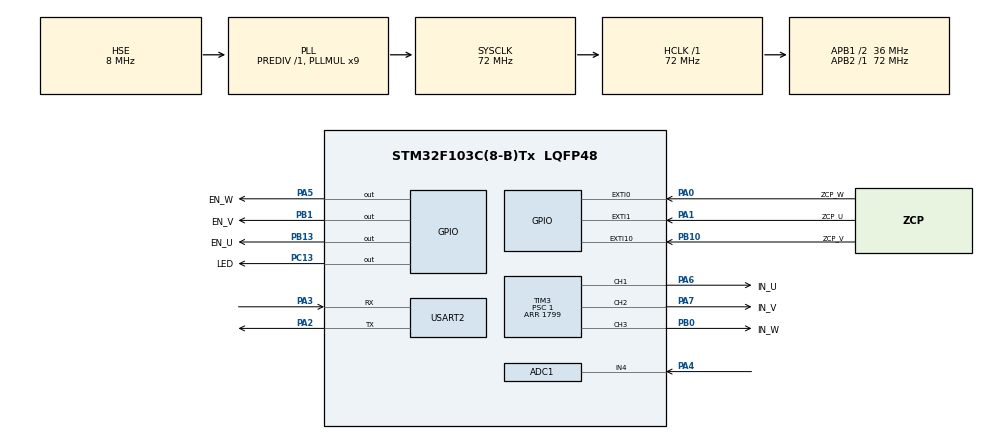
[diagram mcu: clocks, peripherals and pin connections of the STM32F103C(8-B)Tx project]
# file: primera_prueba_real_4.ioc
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ADC1.Channel-4\#ChannelRegularConversion=ADC_CHANNEL_4
ADC1.ContinuousConvMode=DISABLE
ADC1.ExternalTrigConv=ADC_EXTERNALTRIGCONV_T1_CC1
ADC1.NbrOfConversion=1
ADC1.NbrOfConversionFlag=1
ADC1.Rank-4\#ChannelRegularConversion=1
ADC1.SamplingTime-4\#ChannelRegularConversion=ADC_SAMPLETIME_1CYCLE_5
ADC1.master=1
Dma.Request0=USART2_TX
Dma.USART2_TX.0.Direction=DMA_MEMORY_TO_PERIPH
Dma.USART2_TX.0.Instance=DMA1_Channel7
Dma.USART2_TX.0.MemDataAlignment=DMA_MDATAALIGN_BYTE
Dma.USART2_TX.0.MemInc=DMA_MINC_ENABLE
Dma.USART2_TX.0.Mode=DMA_CIRCULAR
Dma.USART2_TX.0.PeriphDataAlignment=DMA_PDATAALIGN_BYTE
Dma.USART2_TX.0.PeriphInc=DMA_PINC_DISABLE
Dma.USART2_TX.0.Priority=DMA_PRIORITY_LOW
Mcu.Family=STM32F1
Mcu.Name=STM32F103C(8-B)Tx
Mcu.Package=LQFP48
NVIC.DMA1_Channel7_IRQn=true\:0\:0\:false\:false\:true\:false\:true\:true
NVIC.PriorityGroup=NVIC_PRIORITYGROUP_4
NVIC.TIM4_IRQn=true\:0\:0\:true\:false\:true\:true\:true\:true
NVIC.USART2_IRQn=true\:0\:0\:true\:false\:true\:true\:true\:true
PA0-WKUP.GPIO_Label=ZCP_W
PA0-WKUP.GPIO_ModeDefaultEXTI=GPIO_MODE_IT_RISING_FALLING
PA0-WKUP.GPIO_PuPd=GPIO_PULLUP
PA0-WKUP.Signal=GPXTI0
PA1.GPIO_Label=ZCP_U
PA1.GPIO_ModeDefaultEXTI=GPIO_MODE_IT_RISING_FALLING
PA1.GPIO_PuPd=GPIO_PULLUP
PA1.Signal=GPXTI1
PA13.Mode=Serial_Wire
PA13.Signal=SYS_JTMS-SWDIO
PA14.Mode=Serial_Wire
PA14.Signal=SYS_JTCK-SWCLK
PA2.Mode=Asynchronous
PA2.Signal=USART2_TX
PA3.Mode=Asynchronous
PA3.Signal=USART2_RX
PA4.Signal=ADCx_IN4
PA5.GPIO_Label=EN_W
PA5.GPIO_ModeDefaultOutputPP=GPIO_MODE_OUTPUT_PP
PA5.GPIO_PuPd=GPIO_NOPULL
PA5.GPIO_Speed=GPIO_SPEED_FREQ_LOW
PA5.Signal=GPIO_Output
PA6.GPIO_Label=IN_U
PA6.GPIO_Speed=GPIO_SPEED_FREQ_HIGH
PA6.Signal=S_TIM3_CH1
PA7.GPIO_Label=IN_V
PA7.GPIO_Speed=GPIO_SPEED_FREQ_HIGH
PA7.Signal=S_TIM3_CH2
PB0.GPIO_Label=IN_W
PB0.GPIO_Speed=GPIO_SPEED_FREQ_HIGH
PB0.Signal=S_TIM3_CH3
PB1.GPIO_Label=EN_V
PB1.GPIO_ModeDefaultOutputPP=GPIO_MODE_OUTPUT_PP
PB1.GPIO_PuPd=GPIO_NOPULL
PB1.GPIO_Speed=GPIO_SPEED_FREQ_LOW
PB1.Signal=GPIO_Output
PB10.GPIO_Label=ZCP_V
PB10.GPIO_ModeDefaultEXTI=GPIO_MODE_IT_RISING_FALLING
PB10.GPIO_PuPd=GPIO_PULLUP
PB10.Signal=GPXTI10
PB13.GPIO_Label=EN_U
PB13.GPIO_ModeDefaultOutputPP=GPIO_MODE_OUTPUT_PP
PB13.GPIO_PuPd=GPIO_NOPULL
PB13.GPIO_Speed=GPIO_SPEED_FREQ_LOW
PB13.Signal=GPIO_Output
PC13-TAMPER-RTC.GPIO_Label=LED
PC13-TAMPER-RTC.GPIO_ModeDefaultOutputPP=GPIO_MODE_OUTPUT_OD
PC13-TAMPER-RTC.GPIO_PuPd=GPIO_NOPULL
PC13-TAMPER-RTC.GPIO_Speed=GPIO_SPEED_FREQ_HIGH
PC13-TAMPER-RTC.PinState=GPIO_PIN_RESET
PC13-TAMPER-RTC.Signal=GPIO_Output
PD0-OSC_IN.Mode=HSE-External-Oscillator
PD0-OSC_IN.Signal=RCC_OSC_IN
PD1-OSC_OUT.Mode=HSE-External-Oscillator
PD1-OSC_OUT.Signal=RCC_OSC_OUT
ProjectManager.HeapSize=0x200
ProjectManager.StackSize=0x400
ProjectManager.TargetToolchain=STM32CubeIDE
RCC.ADCPresc=RCC_ADCPCLK2_DIV8
RCC.AHBFreq_Value=72000000
RCC.APB1CLKDivider=RCC_HCLK_DIV2
RCC.APB1Freq_Value=36000000
RCC.APB1TimFreq_Value=72000000
RCC.APB2Freq_Value=72000000
RCC.APB2TimFreq_Value=72000000
RCC.HCLKFreq_Value=72000000
RCC.PLLMUL=RCC_PLL_MUL9
RCC.PLLSourceVirtual=RCC_PLLSOURCE_HSE
RCC.SYSCLKFreq_VALUE=72000000
RCC.SYSCLKSource=RCC_SYSCLKSOURCE_PLLCLK
RCC.USBFreq_Value=72000000
SH.ADCx_IN4.0=ADC1_IN4,IN4
SH.S_TIM3_CH1.0=TIM3_CH1,PWM Generation1 CH1
SH.S_TIM3_CH2.0=TIM3_CH2,PWM Generation2 CH2
SH.S_TIM3_CH3.0=TIM3_CH3,PWM Generation3 CH3
TIM1.Channel-Output\ Compare1\ No\ Output=TIM_CHANNEL_1
TIM1.Channel-PWM\ Generation2\ CH2\ CH2N=TIM_CHANNEL_2
TIM1.Period=1799
TIM1.Prescaler=2
TIM1.Pulse-Output\ Compare1\ No\ Output=1770
TIM1.TIM_MasterOutputTrigger=TIM_TRGO_OC2REF
TIM1.TIM_MasterSlaveMode=TIM_MASTERSLAVEMODE_ENABLE
TIM3.AutoReloadPreload=TIM_AUTORELOAD_PRELOAD_ENABLE
TIM3.Channel-PWM\ Generation1\ CH1=TIM_CHANNEL_1
TIM3.Channel-PWM\ Generation2\ CH2=TIM_CHANNEL_2
TIM3.Channel-PWM\ Generation3\ CH3=TIM_CHANNEL_3
TIM3.OC1Preload_PWM=DISABLE
TIM3.OC2Preload_PWM=DISABLE
TIM3.OC3Preload_PWM=DISABLE
TIM3.OCFastMode_PWM-PWM\ Generation1\ CH1=TIM_OCFAST_DISABLE
TIM3.OCFastMode_PWM-PWM\ Generation2\ CH2=TIM_OCFAST_DISABLE
TIM3.Period=1799
TIM3.Prescaler=1
TIM3.TIM_MasterOutputTrigger=TIM_TRGO_UPDATE
TIM4.AutoReloadPreload=TIM_AUTORELOAD_PRELOAD_DISABLE
TIM4.Channel-Output\ Compare1\ No\ Output=TIM_CHANNEL_1
TIM4.Channel-Output\ Compare2\ No\ Output=TIM_CHANNEL_2
TIM4.ClockDivision=TIM_CLOCKDIVISION_DIV1
TIM4.OC1Preload=ENABLE
TIM4.OC2Preload=DISABLE
TIM4.Period=19999
TIM4.Prescaler=7199
USART2.VirtualMode=VM_ASYNC
VP_TIM1_VS_ClockSourceINT.Mode=Internal
VP_TIM1_VS_ClockSourceITR.Mode=TriggerSource_ITR0
VP_TIM1_VS_ControllerModeTrigger.Mode=Trigger Mode
VP_TIM1_VS_no_output1.Mode=Output Compare1 No Output
VP_TIM3_VS_ClockSourceINT.Mode=Internal
VP_TIM4_VS_ClockSourceINT.Mode=Internal
VP_TIM4_VS_no_output1.Mode=Output Compare1 No Output
VP_TIM4_VS_no_output2.Mode=Output Compare2 No Output
board=custom

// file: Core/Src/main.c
/* USER CODE BEGIN Header */
/**
  ******************************************************************************
  * @file           : main.c
  * @brief          : Main program body
  ******************************************************************************
  * @attention
  *
  * Copyright (c) 2025 STMicroelectronics.
  * All rights reserved.
  *
  * This software is licensed under terms that can be found in the LICENSE file
  * in the root directory of this software component.
  * If no LICENSE file comes with this software, it is provided AS-IS.
  *
  ******************************************************************************
  */
/* USER CODE END Header */
#include "main.h"

ADC_HandleTypeDef hadc1;

TIM_HandleTypeDef htim1;
TIM_HandleTypeDef htim3;
TIM_HandleTypeDef htim4;

UART_HandleTypeDef huart2;
DMA_HandleTypeDef hdma_usart2_tx;

/* USER CODE BEGIN PV */
const uint8_t float_phase_lookuptable[6] = {PHASE_W,PHASE_V,PHASE_U,PHASE_W,PHASE_V,PHASE_U}; //W ch1, U ch2, V ch3
 typedef enum {
	IDLE,
	PROCESS_COMMAND,
	STARTUP,
	RUNNING,
	ALIGNING,
	READY, // aligned
	FINISH

}state;

 void commutation(uint8_t step,uint16_t pwm);
 void commutator(void);
 void processCommand(char *input);
 void clearRxBuffer(void);

 void blink(void);
 state handleState(void);
 void ledON(void);
 void alignment(void);
 void startup(void);
 void pwm_stop(void);
 void pwm_init(void);
void enableZCP(uint8_t step);
 long map(long x, long in_min, long in_max, long out_min, long out_max) {
	return (x - in_min) * (out_max - out_min) / (in_max - in_min) + out_min;
}
 uint8_t rx_data[1];
 uint8_t rx_buffer[BUFFER_SIZE];
 uint8_t rx_index = 0;
 volatile state state_machine = IDLE;
 volatile bool eventFlag = false;

 volatile uint16_t pwmVal = 0;
 volatile uint8_t commutationStep = 0;
 volatile uint16_t commutationTime = 0;
volatile uint8_t zcp_u  = 0;
volatile uint16_t reference_comm = 0;
volatile uint16_t reference_zcp = 0;
volatile uint32_t adc_val = 0;
volatile uint16_t adc_val_2;
volatile uint16_t zcp_period=800;
volatile uint16_t zcp_period_next;
volatile uint16_t zcp_period_flt;
volatile uint16_t nextCommutTime;
volatile uint16_t halfCommutTime;
 bool aligned_flag = false;
 bool startup_flag = false;
 bool startup_ok = false;
 bool float_U = false;
 bool float_V = false;
 bool float_W = false;
 typedef struct {
     char *command;               // Texto del comando
     void (*execute)();
 } Command;

 Command commandTable[] = {
     {"ALIGN", alignment},
 	{"LEDON", ledON},
 	{"STARTUP", startup},
     {NULL, NULL}  // Marca el final de la tabla
 };
 typedef struct{
 	state currentState;
 	bool *eventFlag;
 	uint32_t delay;
 }TimerDependentEvent;

 TimerDependentEvent eventTable[]={
 		{ALIGNING, &aligned_flag, 1},
 		{RUNNING, &eventFlag, 1},
		{STARTUP, &startup_flag, STARTUP_TIME_X},
 		{IDLE, NULL, 0}
 };

#define COEF_ADVC_ANGLE 0.375
#define NUM_TIMER_EVENTS (sizeof(eventTable)/sizeof(eventTable[0]))
#define PWM_STOP 		HAL_TIM_PWM_Stop(&htim3, IN_U);\
						HAL_TIM_PWM_Stop(&htim3, IN_V);\
						HAL_TIM_PWM_Stop(&htim3, IN_W);
/* USER CODE END PV */

void SystemClock_Config(void);
static void MX_GPIO_Init(void);
static void MX_DMA_Init(void);
static void MX_TIM4_Init(void);
static void MX_USART2_UART_Init(void);
static void MX_TIM3_Init(void);
static void MX_ADC1_Init(void);
static void MX_TIM1_Init(void);

/* USER CODE BEGIN 0 */

void enableZCP(uint8_t step) {
    // Deshabilitar todas las interrupciones relevantes primero
    EXTI->IMR &= ~(1 << 0);  // Deshabilitar EXTI0
    EXTI->IMR &= ~(1 << 1);  // Deshabilitar EXTI1
    EXTI->IMR &= ~(1 << 10); // Deshabilitar EXTI15

    // Validar si el sistema está listo para habilitar la detección de cruces por cero
        // Obtener la fase actual desde la tabla de búsqueda
    if(startup_ok){
    switch (float_phase_lookuptable[step]) {
            case PHASE_V:

            	EXTI->IMR |= (1 << 10); // Habilitar interrupción para fase V (EXTI15)

                __enable_irq();
                break;
            case PHASE_W:

                EXTI->IMR |= (1 << 0);  // Habilitar interrupción para fase W (EXTI0)
                __enable_irq();

                break;
            case PHASE_U:

                EXTI->IMR |= (1 << 1);  // Habilitar interrupción para fase U (EXTI1)
                __enable_irq();

                break;
            default:
                // Manejar errores o fases no válidas
                break;
        }
    }
}

void pwm_stop(void) {
	__HAL_TIM_SET_COMPARE(&htim3, IN_U, 0);
	__HAL_TIM_SET_COMPARE(&htim3, IN_V, 0);
	__HAL_TIM_SET_COMPARE(&htim3, IN_W, 0);
	__HAL_TIM_SET_COUNTER(&htim3, 0);

}

void pwm_init(void){
	__HAL_TIM_SET_COMPARE(&htim3, IN_U, 0);
	__HAL_TIM_SET_COMPARE(&htim3, IN_V, 0);
	__HAL_TIM_SET_COMPARE(&htim3, IN_W, 0);

	HAL_TIM_PWM_Start(&htim3, IN_U);
	HAL_TIM_PWM_Start(&htim3,IN_V);
	HAL_TIM_PWM_Start(&htim3, IN_W);
	return;
}

void alignment(void){
	aligned_flag = false;
	state_machine = ALIGNING;
	HAL_TIM_Base_Stop_IT(&htim4);
	HAL_TIM_OC_Stop_IT(&htim4, TIM_CHANNEL_1);
	HAL_TIM_Base_Stop(&htim4);

	__HAL_TIM_SET_COUNTER(&htim4, 0);
	__HAL_TIM_SET_COMPARE(&htim4, TIM_CHANNEL_1, ALIGN_TIME);
	pwm_init();

	commutation(POS_UV, DC_ALIGN);
	HAL_TIM_Base_Start_IT(&htim4);
	HAL_TIM_OC_Start_IT(&htim4, TIM_CHANNEL_1);
	while(!aligned_flag);
	state_machine = READY;
	pwm_stop();
}

void startup(void){
	alignment();
	state_machine =  STARTUP;
	bool  localFlag = false;
	pwmVal = DC_STARTUP_INIT;
	pwm_init();
	commutationStep = POS_UV;
	commutationTime = TIME_STARTUP_COMMUTATION_INIT;
	uint16_t duration = 0;
	pwm_init();
	while(!localFlag){
		//__HAL_TIM_SET_COUNTER(&htim4, 0);
		//__HAL_TIM_SET_COMPARE(&htim4, TIM_CHANNEL_1, time);
		HAL_Delay(commutationTime);
		commutation(commutationStep, pwmVal);
		//HAL_TIM_Base_Start_IT(&htim4);
		//HAL_TIM_OC_Start_IT(&htim4, TIM_CHANNEL_1);
		//while(!startup_flag);

		commutationStep = (commutationStep + 1) % NUM_POS;
		(pwmVal < DC_STARTUP_END) ? pwmVal += DC_STARTUP_STEP : pwmVal;
	    if (commutationTime > TIME_STARTUP_COMMUTATION_FINAL) {
	    	commutationTime -= TIME_STARTUP_STEP;
	    } else if (duration < 500){
	        duration++;
	        if(duration == 499)startup_ok=true;
	    }
	    else {

			localFlag = true;

			__HAL_TIM_SET_COUNTER(&htim4, 0);

	    }
//		startup_flag = false;

	}
	//commutationTime*=10;
	HAL_TIM_OC_Stop_IT(&htim4, TIM_CHANNEL_1); // Detiene canal 1
//	__HAL_TIM_SET_COMPARE(&htim4, TIM_CHANNEL_2, commutationTime); // Configura canal 2
	reference_zcp = 0;

	TIM4->ARR = 0xFFFF;
	TIM4->PSC = 4;
	//HAL_ADC_Start_IT(&hadc1);
	// Habilitar interrupción para fase W (EXTI0)

	__HAL_TIM_SET_COUNTER(&htim4, 0);

	// Inicia el canal 2 en modo Output Compare

}

void ledON(){

	eventFlag = true;

	__HAL_TIM_SET_COMPARE(&htim4, TIM_CHANNEL_1, 19999);

	HAL_TIM_OC_Start_IT(&htim4, TIM_CHANNEL_1);

}
void processCommand(char *input) {
    for (int i = 0; commandTable[i].command != NULL; i++) {
        if (strcmp(input, commandTable[i].command) == 0) {  // Compara el comando recibido
            eventFlag = true;
        	commandTable[i].execute();  // Ejecuta la función asociada
            clearRxBuffer();  // Limpia el buffer acumulador

            return;
        }
    }
    // Si no se encuentra el comando
    HAL_UART_Transmit(&huart2, (uint8_t *)"Unknown Command\r\n", 17, 3);
    clearRxBuffer();
    state_machine = IDLE;
    return;// Limpia el buffer acumulador

}

void clearRxBuffer(void) {
    memset(rx_buffer, 0, BUFFER_SIZE);  // Establece todos los elementos a 0
    rx_index = 0;                          // Reinicia el índice del buffer
}

void HAL_UART_RxCpltCallback(UART_HandleTypeDef *huart) {
    if (huart->Instance == USART2) {  // Verifica el UART correcto
        if (rx_data[0] == '\r') {  // Detecta el carácter de fin de línea
            rx_buffer[rx_index] = '\0';  // Finaliza la cadena con terminador nulo
            rx_index = 0;  // Reinicia el índice para el próximo mensaje

            // Procesa el mensaje completo
            HAL_UART_Transmit(&huart2, (uint8_t *)"\r\nReceived: ", 12, 3);
            HAL_UART_Transmit(&huart2, rx_buffer	, strlen((char *)rx_buffer), 3);
            HAL_UART_Transmit(&huart2, (uint8_t *)"\r\n", 2, HAL_MAX_DELAY);
            state_machine = PROCESS_COMMAND;
        } else if (rx_data[0] == '\b' || rx_data[0] == '\177') {  // Detecta Backspace
            if (rx_index > 0) {  // Si hay algo en el buffer
                rx_index--;  // Retrocede el índice
                // Simula el borrado en el terminal
                HAL_UART_Transmit(&huart2, (uint8_t *)"\b \b", 3, 3);
            }
        } else {  // Cualquier otro carácter
            rx_buffer[rx_index++] = rx_data[0];  // Almacena el carácter en el buffer
            HAL_UART_Transmit(&huart2, rx_data, 1, HAL_MAX_DELAY);  // Eco del carácter recibido

            // Evita desbordamientos
            if (rx_index >= BUFFER_SIZE) {
                HAL_UART_Transmit(&huart2, (uint8_t *)"\r\nBuffer Overflow\r\n", 19, 3);
                rx_index = 0;  // Reinicia el índice en caso de desbordamiento
            }
        }

        // Reinicia la recepción para el siguiente byte
        HAL_UART_Receive_IT(&huart2, rx_data, 1);
    }
}
state handleState(void){
	switch(state_machine){
	case IDLE:
		if(!__HAL_UART_GET_IT_SOURCE(&huart2, UART_IT_RXNE)){
			__HAL_UART_ENABLE_IT(&huart2, UART_IT_RXNE);
		}
		break;

	case PROCESS_COMMAND:
		__HAL_UART_DISABLE_IT(&huart2, UART_IT_RXNE);
		processCommand((char*) rx_buffer);
		break;

	case STARTUP:
		__HAL_UART_DISABLE_IT(&huart2, UART_IT_RXNE);
		//startup();
		break;
	case ALIGNING:
		__HAL_UART_DISABLE_IT(&huart2, UART_IT_RXNE);
		alignment();
		break;
	case RUNNING:
		__HAL_UART_DISABLE_IT(&huart2, UART_IT_RXNE);
		break;

	case READY:
		if(!__HAL_UART_GET_IT_SOURCE(&huart2, UART_IT_RXNE)){
					__HAL_UART_ENABLE_IT(&huart2, UART_IT_RXNE);
				}
		break;
	case FINISH:
		// Asegúrate de que las interrupciones de UART estén habilitadas al finalizar
		//timerCounter = 0; // Reinicia el contador
		__HAL_UART_ENABLE_IT(&huart2, UART_IT_RXNE);
		state_machine = IDLE; // Vuelve al estado IDLE

		break;

}
	return (state_machine);
}
/*
 __disable_irq();
//HAL_GPIO_TogglePin(LED_GPIO_Port, LED_Pin);
realCommutTime = HAL_TIM_ReadCapturedValue(&htim2, TIM_CHANNEL_1);
TIM4->CCR2 = realCommutTime;
__enable_irq();
*/

void HAL_GPIO_EXTI_Callback(uint16_t GPIO_Pin) {

	commutationStep = (commutationStep + 1) % NUM_POS;

	commutation(commutationStep, pwmVal);
		reference_comm++;

}
void HAL_GPIO_EXT0_Callback(uint16_t GPIO_Pin){

	commutationStep = (commutationStep + 1) % NUM_POS;

	commutation(commutationStep, pwmVal);

}

void HAL_GPIO_EXT15_10_Callback(uint16_t GPIO_Pin){

	commutationStep = (commutationStep + 1) % NUM_POS;

	commutation(commutationStep, pwmVal);

}
void commutation(uint8_t step, uint16_t pwm) {

    switch(step) {

        case POS_UV:
        	pwm_stop();
        	__disable_irq();
            GPIOA->ODR &= ~EN_W;         // Desactivar EN_W

            GPIOB->ODR |= EN_U;
			GPIOB->ODR |= EN_V;  // Activar EN_U y EN_V

            __HAL_TIM_SET_COMPARE(&htim3, IN_U, pwm);
            __HAL_TIM_SET_COMPARE(&htim3, IN_V, 0);
        	__HAL_TIM_SET_COUNTER(&htim3, 0);
        	__enable_irq();

            enableZCP(step);

            break;
        case POS_UW:
        	pwm_stop();
        	__disable_irq();

            GPIOB->ODR &= ~EN_V;         // Desactivar EN_V

           // GPIOB->ODR |= EN_U ; // Activar EN_U y EN_W
            GPIOA->ODR |=  EN_W;
            __HAL_TIM_SET_COMPARE(&htim3, IN_U, pwm);
            __HAL_TIM_SET_COMPARE(&htim3, IN_W, 0);

        	__HAL_TIM_SET_COUNTER(&htim3, 0);
__enable_irq();
                        enableZCP(step);

            break;
        case POS_VW:
        	pwm_stop();
        	__disable_irq();

            GPIOB->ODR &= ~EN_U;         // Desactivar EN_U

            GPIOB->ODR |= EN_V; // Activar EN_V y EN_W
            //GPIOA->ODR |=  EN_W;

            __HAL_TIM_SET_COMPARE(&htim3, IN_V, pwm);
            __HAL_TIM_SET_COMPARE(&htim3, IN_W, 0);
        	__HAL_TIM_SET_COUNTER(&htim3, 0);
        	__enable_irq();

            enableZCP(step);

            break;
        case POS_VU:
        	pwm_stop();
        	__disable_irq();

            GPIOB->ODR |= EN_U; // Activar EN_U y EN_V
            GPIOB->ODR |=  EN_V;
            GPIOA->ODR &= ~EN_W;         // Desactivar EN_W
            __HAL_TIM_SET_COMPARE(&htim3, IN_V, pwm);
            __HAL_TIM_SET_COMPARE(&htim3, IN_U, 0);
        	__HAL_TIM_SET_COUNTER(&htim3, 0);
        	__enable_irq();

        	enableZCP(step);

            break;
        case POS_WU:
        	pwm_stop();
        	__disable_irq();

            GPIOB->ODR &= ~EN_V;         // Desactivar EN_V
            GPIOA->ODR |=  EN_W;
            //GPIOB->ODR |= EN_U; // Activar EN_U y EN_W

            __HAL_TIM_SET_COMPARE(&htim3, IN_W, pwm);
            __HAL_TIM_SET_COMPARE(&htim3, IN_U, 0);
        	__HAL_TIM_SET_COUNTER(&htim3, 0);
        	__enable_irq();

            enableZCP(step);

            break;
        case POS_WV:
        	pwm_stop();
        	__disable_irq();

            GPIOB->ODR &= ~EN_U;         // Desactivar EN_U

            GPIOB->ODR |= EN_V; // Activar EN_V y EN_W
            //GPIOA->ODR |=  EN_W;
            __HAL_TIM_SET_COMPARE(&htim3, IN_W, pwm);
            __HAL_TIM_SET_COMPARE(&htim3, IN_V, 0);
        	__HAL_TIM_SET_COUNTER(&htim3, 0);
        	__enable_irq();

        	enableZCP(step);

            break;
        default:
            break;
    }
}

void HAL_TIM_OC_DelayElapsedCallback(TIM_HandleTypeDef *htim) {
	if (htim->Instance == TIM4 && htim->Channel == HAL_TIM_ACTIVE_CHANNEL_1) {
	    //TIM3->CCER &= ~(TIM_CCER_CC1E | TIM_CCER_CC2E | TIM_CCER_CC3E | TIM_CCER_CC4E);
		__HAL_TIM_DISABLE(&htim4);

		__HAL_TIM_SET_COUNTER(&htim4, 0);
		HAL_TIM_Base_Stop_IT(&htim4);
		HAL_TIM_Base_Stop(&htim4);

		HAL_TIM_OC_Stop_IT(&htim4, TIM_CHANNEL_1);
		for (int i = 0; i < NUM_TIMER_EVENTS; i++) {
			// Detener el temporizador y deshabilitar el contador
			if (eventTable[i].currentState == state_machine) {
				if (eventTable[i].eventFlag != NULL) {
					*(eventTable[i].eventFlag) = true;
					__HAL_TIM_ENABLE(&htim4);
					__HAL_TIM_SET_COUNTER(&htim4, 0);

					HAL_TIM_OC_Stop_IT(&htim4, TIM_CHANNEL_1);

					return;

				}
				break;

			}

		}
		__HAL_TIM_SET_COUNTER(&htim4, 0);
		HAL_TIM_Base_Start_IT(&htim4);
		HAL_TIM_OC_Start_IT(&htim4, TIM_CHANNEL_1);
		__HAL_TIM_ENABLE(&htim4);

	}
	if (htim->Instance == TIM4 && htim->Channel == HAL_TIM_ACTIVE_CHANNEL_2) {
        //TIM4->CCR2 = commutationTime;
		//(commutationStep);
		commutation(commutationStep, pwmVal);

		commutationStep = (commutationStep + 1) % NUM_POS;
		reference_comm++;
		__HAL_TIM_SET_COUNTER(&htim4, 0);
	}

}

void HAL_ADC_ConvCpltCallback(ADC_HandleTypeDef *hadc){
	HAL_GPIO_TogglePin(LED_GPIO_Port, LED_Pin);
	adc_val = HAL_ADC_GetValue(hadc);
	pwmVal = map(adc_val, 0, 4095, 1250, 1799);
}
/* USER CODE END 0 */

int main(void)
{

  /* MCU Configuration--------------------------------------------------------*/

  /* Reset of all peripherals, Initializes the Flash interface and the Systick. */
  HAL_Init();

  /* Configure the system clock */
  SystemClock_Config();

  /* Initialize all configured peripherals */
  MX_GPIO_Init();
  MX_DMA_Init();
  MX_TIM4_Init();
  MX_USART2_UART_Init();
  MX_TIM3_Init();
  MX_ADC1_Init();
  MX_TIM1_Init();
  /* USER CODE BEGIN 2 */
  //HAL_TIM_Base_Start_IT(&htim4);
  HAL_GPIO_WritePin(LED_GPIO_Port, LED_Pin, GPIO_PIN_RESET);
  state statetete;

  HAL_UART_Receive_IT(&huart2, rx_data, 1);

  /* USER CODE END 2 */

  /* Infinite loop */
  /* USER CODE BEGIN WHILE */
  while (1)
  {
	  statetete = handleState();
    /* USER CODE END WHILE */

  }
}

void SystemClock_Config(void)
{
  RCC_OscInitTypeDef RCC_OscInitStruct = {0};
  RCC_ClkInitTypeDef RCC_ClkInitStruct = {0};
  RCC_PeriphCLKInitTypeDef PeriphClkInit = {0};

  /** Initializes the RCC Oscillators according to the specified parameters
  * in the RCC_OscInitTypeDef structure.
  */
  RCC_OscInitStruct.OscillatorType = RCC_OSCILLATORTYPE_HSE;
  RCC_OscInitStruct.HSEState = RCC_HSE_ON;
  RCC_OscInitStruct.HSEPredivValue = RCC_HSE_PREDIV_DIV1;
  RCC_OscInitStruct.HSIState = RCC_HSI_ON;
  RCC_OscInitStruct.PLL.PLLState = RCC_PLL_ON;
  RCC_OscInitStruct.PLL.PLLSource = RCC_PLLSOURCE_HSE;
  RCC_OscInitStruct.PLL.PLLMUL = RCC_PLL_MUL9;
  if (HAL_RCC_OscConfig(&RCC_OscInitStruct) != HAL_OK)
  {
    Error_Handler();
  }

  /** Initializes the CPU, AHB and APB buses clocks
  */
  RCC_ClkInitStruct.ClockType = RCC_CLOCKTYPE_HCLK|RCC_CLOCKTYPE_SYSCLK
                              |RCC_CLOCKTYPE_PCLK1|RCC_CLOCKTYPE_PCLK2;
  RCC_ClkInitStruct.SYSCLKSource = RCC_SYSCLKSOURCE_PLLCLK;
  RCC_ClkInitStruct.AHBCLKDivider = RCC_SYSCLK_DIV1;
  RCC_ClkInitStruct.APB1CLKDivider = RCC_HCLK_DIV2;
  RCC_ClkInitStruct.APB2CLKDivider = RCC_HCLK_DIV1;

  if (HAL_RCC_ClockConfig(&RCC_ClkInitStruct, FLASH_LATENCY_2) != HAL_OK)
  {
    Error_Handler();
  }
  PeriphClkInit.PeriphClockSelection = RCC_PERIPHCLK_ADC;
  PeriphClkInit.AdcClockSelection = RCC_ADCPCLK2_DIV8;
  if (HAL_RCCEx_PeriphCLKConfig(&PeriphClkInit) != HAL_OK)
  {
    Error_Handler();
  }
}

static void MX_ADC1_Init(void)
{

  ADC_ChannelConfTypeDef sConfig = {0};

  /** Common config
  */
  hadc1.Instance = ADC1;
  hadc1.Init.ScanConvMode = ADC_SCAN_DISABLE;
  hadc1.Init.ContinuousConvMode = DISABLE;
  hadc1.Init.DiscontinuousConvMode = DISABLE;
  hadc1.Init.ExternalTrigConv = ADC_EXTERNALTRIGCONV_T1_CC1;
  hadc1.Init.DataAlign = ADC_DATAALIGN_RIGHT;
  hadc1.Init.NbrOfConversion = 1;
  if (HAL_ADC_Init(&hadc1) != HAL_OK)
  {
    Error_Handler();
  }

  /** Configure Regular Channel
  */
  sConfig.Channel = ADC_CHANNEL_4;
  sConfig.Rank = ADC_REGULAR_RANK_1;
  sConfig.SamplingTime = ADC_SAMPLETIME_1CYCLE_5;
  if (HAL_ADC_ConfigChannel(&hadc1, &sConfig) != HAL_OK)
  {
    Error_Handler();
  }

}

static void MX_TIM1_Init(void)
{

  TIM_ClockConfigTypeDef sClockSourceConfig = {0};
  TIM_SlaveConfigTypeDef sSlaveConfig = {0};
  TIM_MasterConfigTypeDef sMasterConfig = {0};
  TIM_OC_InitTypeDef sConfigOC = {0};
  TIM_BreakDeadTimeConfigTypeDef sBreakDeadTimeConfig = {0};

  htim1.Instance = TIM1;
  htim1.Init.Prescaler = 2;
  htim1.Init.CounterMode = TIM_COUNTERMODE_UP;
  htim1.Init.Period = 1799;
  htim1.Init.ClockDivision = TIM_CLOCKDIVISION_DIV1;
  htim1.Init.RepetitionCounter = 0;
  htim1.Init.AutoReloadPreload = TIM_AUTORELOAD_PRELOAD_DISABLE;
  if (HAL_TIM_Base_Init(&htim1) != HAL_OK)
  {
    Error_Handler();
  }
  sClockSourceConfig.ClockSource = TIM_CLOCKSOURCE_INTERNAL;
  if (HAL_TIM_ConfigClockSource(&htim1, &sClockSourceConfig) != HAL_OK)
  {
    Error_Handler();
  }
  if (HAL_TIM_OC_Init(&htim1) != HAL_OK)
  {
    Error_Handler();
  }
  sSlaveConfig.SlaveMode = TIM_SLAVEMODE_TRIGGER;
  sSlaveConfig.InputTrigger = TIM_TS_ITR0;
  if (HAL_TIM_SlaveConfigSynchro(&htim1, &sSlaveConfig) != HAL_OK)
  {
    Error_Handler();
  }
  sMasterConfig.MasterOutputTrigger = TIM_TRGO_OC2REF;
  sMasterConfig.MasterSlaveMode = TIM_MASTERSLAVEMODE_ENABLE;
  if (HAL_TIMEx_MasterConfigSynchronization(&htim1, &sMasterConfig) != HAL_OK)
  {
    Error_Handler();
  }
  sConfigOC.OCMode = TIM_OCMODE_TIMING;
  sConfigOC.Pulse = 1770;
  sConfigOC.OCPolarity = TIM_OCPOLARITY_HIGH;
  sConfigOC.OCNPolarity = TIM_OCNPOLARITY_HIGH;
  sConfigOC.OCFastMode = TIM_OCFAST_DISABLE;
  sConfigOC.OCIdleState = TIM_OCIDLESTATE_RESET;
  sConfigOC.OCNIdleState = TIM_OCNIDLESTATE_RESET;
  if (HAL_TIM_OC_ConfigChannel(&htim1, &sConfigOC, TIM_CHANNEL_1) != HAL_OK)
  {
    Error_Handler();
  }
  sBreakDeadTimeConfig.OffStateRunMode = TIM_OSSR_DISABLE;
  sBreakDeadTimeConfig.OffStateIDLEMode = TIM_OSSI_DISABLE;
  sBreakDeadTimeConfig.LockLevel = TIM_LOCKLEVEL_OFF;
  sBreakDeadTimeConfig.DeadTime = 0;
  sBreakDeadTimeConfig.BreakState = TIM_BREAK_DISABLE;
  sBreakDeadTimeConfig.BreakPolarity = TIM_BREAKPOLARITY_HIGH;
  sBreakDeadTimeConfig.AutomaticOutput = TIM_AUTOMATICOUTPUT_DISABLE;
  if (HAL_TIMEx_ConfigBreakDeadTime(&htim1, &sBreakDeadTimeConfig) != HAL_OK)
  {
    Error_Handler();
  }

}

static void MX_TIM3_Init(void)
{

  TIM_ClockConfigTypeDef sClockSourceConfig = {0};
  TIM_MasterConfigTypeDef sMasterConfig = {0};
  TIM_OC_InitTypeDef sConfigOC = {0};

  htim3.Instance = TIM3;
  htim3.Init.Prescaler = 1;
  htim3.Init.CounterMode = TIM_COUNTERMODE_UP;
  htim3.Init.Period = 1799;
  htim3.Init.ClockDivision = TIM_CLOCKDIVISION_DIV1;
  htim3.Init.AutoReloadPreload = TIM_AUTORELOAD_PRELOAD_ENABLE;
  if (HAL_TIM_Base_Init(&htim3) != HAL_OK)
  {
    Error_Handler();
  }
  sClockSourceConfig.ClockSource = TIM_CLOCKSOURCE_INTERNAL;
  if (HAL_TIM_ConfigClockSource(&htim3, &sClockSourceConfig) != HAL_OK)
  {
    Error_Handler();
  }
  if (HAL_TIM_PWM_Init(&htim3) != HAL_OK)
  {
    Error_Handler();
  }
  sMasterConfig.MasterOutputTrigger = TIM_TRGO_UPDATE;
  sMasterConfig.MasterSlaveMode = TIM_MASTERSLAVEMODE_DISABLE;
  if (HAL_TIMEx_MasterConfigSynchronization(&htim3, &sMasterConfig) != HAL_OK)
  {
    Error_Handler();
  }
  sConfigOC.OCMode = TIM_OCMODE_PWM1;
  sConfigOC.Pulse = 0;
  sConfigOC.OCPolarity = TIM_OCPOLARITY_HIGH;
  sConfigOC.OCFastMode = TIM_OCFAST_DISABLE;
  if (HAL_TIM_PWM_ConfigChannel(&htim3, &sConfigOC, TIM_CHANNEL_1) != HAL_OK)
  {
    Error_Handler();
  }
  __HAL_TIM_DISABLE_OCxPRELOAD(&htim3, TIM_CHANNEL_1);
  if (HAL_TIM_PWM_ConfigChannel(&htim3, &sConfigOC, TIM_CHANNEL_2) != HAL_OK)
  {
    Error_Handler();
  }
  __HAL_TIM_DISABLE_OCxPRELOAD(&htim3, TIM_CHANNEL_2);
  if (HAL_TIM_PWM_ConfigChannel(&htim3, &sConfigOC, TIM_CHANNEL_3) != HAL_OK)
  {
    Error_Handler();
  }
  __HAL_TIM_DISABLE_OCxPRELOAD(&htim3, TIM_CHANNEL_3);
  HAL_TIM_MspPostInit(&htim3);

}

static void MX_TIM4_Init(void)
{

  TIM_ClockConfigTypeDef sClockSourceConfig = {0};
  TIM_MasterConfigTypeDef sMasterConfig = {0};
  TIM_OC_InitTypeDef sConfigOC = {0};

  /* USER CODE BEGIN TIM4_Init 1 */
  TIM_OnePulse_InitTypeDef sConfig;
  /* USER CODE END TIM4_Init 1 */
  htim4.Instance = TIM4;
  htim4.Init.Prescaler = 7199;
  htim4.Init.CounterMode = TIM_COUNTERMODE_UP;
  htim4.Init.Period = 19999;
  htim4.Init.ClockDivision = TIM_CLOCKDIVISION_DIV1;
  htim4.Init.AutoReloadPreload = TIM_AUTORELOAD_PRELOAD_DISABLE;
  if (HAL_TIM_Base_Init(&htim4) != HAL_OK)
  {
    Error_Handler();
  }
  sClockSourceConfig.ClockSource = TIM_CLOCKSOURCE_INTERNAL;
  if (HAL_TIM_ConfigClockSource(&htim4, &sClockSourceConfig) != HAL_OK)
  {
    Error_Handler();
  }
  if (HAL_TIM_OC_Init(&htim4) != HAL_OK)
  {
    Error_Handler();
  }
  sMasterConfig.MasterOutputTrigger = TIM_TRGO_RESET;
  sMasterConfig.MasterSlaveMode = TIM_MASTERSLAVEMODE_DISABLE;
  if (HAL_TIMEx_MasterConfigSynchronization(&htim4, &sMasterConfig) != HAL_OK)
  {
    Error_Handler();
  }
  sConfigOC.OCMode = TIM_OCMODE_TIMING;
  sConfigOC.Pulse = 0;
  sConfigOC.OCPolarity = TIM_OCPOLARITY_HIGH;
  sConfigOC.OCFastMode = TIM_OCFAST_DISABLE;
  if (HAL_TIM_OC_ConfigChannel(&htim4, &sConfigOC, TIM_CHANNEL_1) != HAL_OK)
  {
    Error_Handler();
  }
  __HAL_TIM_ENABLE_OCxPRELOAD(&htim4, TIM_CHANNEL_1);
  if (HAL_TIM_OC_ConfigChannel(&htim4, &sConfigOC, TIM_CHANNEL_2) != HAL_OK)
  {
    Error_Handler();
  }

}

static void MX_USART2_UART_Init(void)
{

  huart2.Instance = USART2;
  huart2.Init.BaudRate = 115200;
  huart2.Init.WordLength = UART_WORDLENGTH_8B;
  huart2.Init.StopBits = UART_STOPBITS_1;
  huart2.Init.Parity = UART_PARITY_NONE;
  huart2.Init.Mode = UART_MODE_TX_RX;
  huart2.Init.HwFlowCtl = UART_HWCONTROL_NONE;
  huart2.Init.OverSampling = UART_OVERSAMPLING_16;
  if (HAL_UART_Init(&huart2) != HAL_OK)
  {
    Error_Handler();
  }

}

static void MX_DMA_Init(void)
{

  /* DMA controller clock enable */
  __HAL_RCC_DMA1_CLK_ENABLE();

  /* DMA interrupt init */
  /* DMA1_Channel7_IRQn interrupt configuration */
  HAL_NVIC_SetPriority(DMA1_Channel7_IRQn, 0, 0);
  HAL_NVIC_EnableIRQ(DMA1_Channel7_IRQn);

}

static void MX_GPIO_Init(void)
{
  GPIO_InitTypeDef GPIO_InitStruct = {0};

  /* GPIO Ports Clock Enable */
  __HAL_RCC_GPIOC_CLK_ENABLE();
  __HAL_RCC_GPIOD_CLK_ENABLE();
  __HAL_RCC_GPIOA_CLK_ENABLE();
  __HAL_RCC_GPIOB_CLK_ENABLE();

  /*Configure GPIO pin Output Level */
  HAL_GPIO_WritePin(LED_GPIO_Port, LED_Pin, GPIO_PIN_RESET);

  /*Configure GPIO pin Output Level */
  HAL_GPIO_WritePin(EN_W_GPIO_Port, EN_W_Pin, GPIO_PIN_RESET);

  /*Configure GPIO pin Output Level */
  HAL_GPIO_WritePin(GPIOB, EN_V_Pin|EN_U_Pin, GPIO_PIN_RESET);

  /*Configure GPIO pin : LED_Pin */
  GPIO_InitStruct.Pin = LED_Pin;
  GPIO_InitStruct.Mode = GPIO_MODE_OUTPUT_OD;
  GPIO_InitStruct.Pull = GPIO_NOPULL;
  GPIO_InitStruct.Speed = GPIO_SPEED_FREQ_HIGH;
  HAL_GPIO_Init(LED_GPIO_Port, &GPIO_InitStruct);

  /*Configure GPIO pins : ZCP_W_Pin ZCP_U_Pin */
  GPIO_InitStruct.Pin = ZCP_W_Pin|ZCP_U_Pin;
  GPIO_InitStruct.Mode = GPIO_MODE_IT_RISING_FALLING;
  GPIO_InitStruct.Pull = GPIO_PULLUP;
  HAL_GPIO_Init(GPIOA, &GPIO_InitStruct);

  /*Configure GPIO pin : EN_W_Pin */
  GPIO_InitStruct.Pin = EN_W_Pin;
  GPIO_InitStruct.Mode = GPIO_MODE_OUTPUT_PP;
  GPIO_InitStruct.Pull = GPIO_NOPULL;
  GPIO_InitStruct.Speed = GPIO_SPEED_FREQ_LOW;
  HAL_GPIO_Init(EN_W_GPIO_Port, &GPIO_InitStruct);

  /*Configure GPIO pins : EN_V_Pin EN_U_Pin */
  GPIO_InitStruct.Pin = EN_V_Pin|EN_U_Pin;
  GPIO_InitStruct.Mode = GPIO_MODE_OUTPUT_PP;
  GPIO_InitStruct.Pull = GPIO_NOPULL;
  GPIO_InitStruct.Speed = GPIO_SPEED_FREQ_LOW;
  HAL_GPIO_Init(GPIOB, &GPIO_InitStruct);

  /*Configure GPIO pin : ZCP_V_Pin */
  GPIO_InitStruct.Pin = ZCP_V_Pin;
  GPIO_InitStruct.Mode = GPIO_MODE_IT_RISING_FALLING;
  GPIO_InitStruct.Pull = GPIO_PULLUP;
  HAL_GPIO_Init(ZCP_V_GPIO_Port, &GPIO_InitStruct);

}

void Error_Handler(void)
{
  __disable_irq();
  while (1)
  {
  }
}
